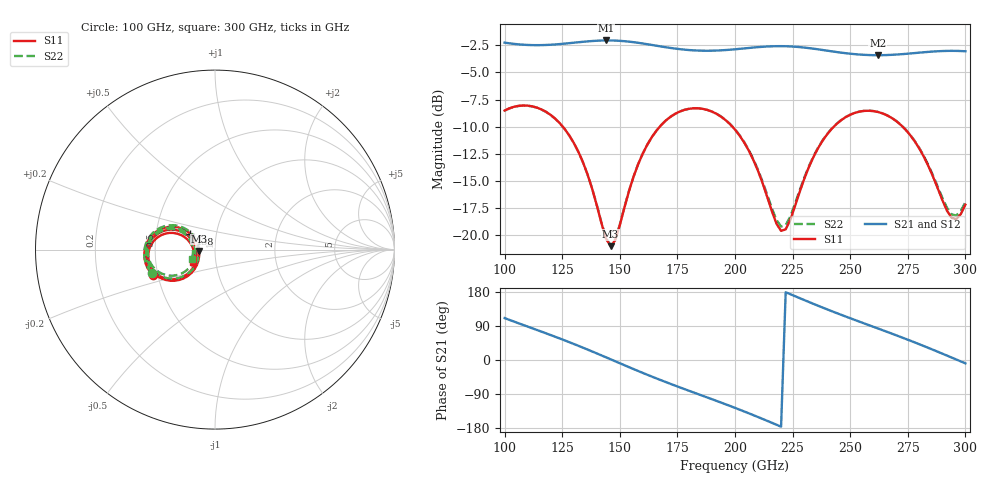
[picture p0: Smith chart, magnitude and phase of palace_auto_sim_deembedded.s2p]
! Created with skrf 1.11.0 (http://scikit-rf.org).
# GHz S DB R 50.0
!freq dBS11 angS11 dBS21 angS21 dBS12 angS12 dBS22 angS22
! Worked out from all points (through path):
!   101 points, 100 GHz to 300 GHz, reference 50 ohm
!   highest |S21| = -2.05 dB at 144 GHz (marker M1); lowest = -3.4 dB at 262 GHz (marker M2)
!   group delay of S21, straight-line fit = 6.67 ps
!   lowest |S11| = -21.0 dB at 146 GHz (marker M3), VSWR 1.19, Z = 41.9 - j0.591 ohm
!   |S11| at or under -10 dB: 125.2 GHz to 167.4 GHz (42.17 GHz wide, 28.8 % of centre); 198.8 GHz to 242.9 GHz (44.11 GHz wide, 20 % of centre); 272.7 GHz to end of sweep
!   |S22| runs from -21.0 to -8.1 dB; largest |S21 - S12| = 9.1e-14
!   S11 on the Smith chart (normalised r, x): 100 GHz: 0.47, -0.16; 138 GHz: 0.75, +0.14; 300 GHz: 0.78, -0.11
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100  -8.52 -157.7  -2.25 110.6  -2.25 110.6  -8.53 -159.4
108  -8.05 -172.3  -2.44 92.6  -2.44 92.6  -8.06 -174.1
118  -8.64 170.1  -2.46 70.3  -2.46 70.3  -8.65 168.1
126  -10.20 157.0  -2.34 51.9  -2.34 51.9  -10.20 154.9
134  -13.28 147.4  -2.17 32.6  -2.17 32.6  -13.28 145.3
138  -15.74 147.3  -2.10 22.5  -2.10 22.5  -15.73 145.2
144  -20.34 168.0  -2.05 7.1  -2.05 7.1  -20.28 165.8
146  -21.03 -175.5  -2.05 1.9  -2.05 1.9  -20.95 -177.9
156  -14.60 -135.3  -2.21 -24.0  -2.21 -24.0  -14.59 -138.1
168  -9.85 -148.2  -2.61 -53.6  -2.61 -53.6  -9.85 -151.1
184  -8.31 -174.7  -2.98 -90.0  -2.98 -90.0  -8.31 -177.7
200  -10.28 160.3  -2.86 -126.3  -2.86 -126.3  -10.25 157.4
212  -15.23 152.5  -2.63 -155.6  -2.63 -155.6  -15.10 150.0
220  -19.62 -177.9  -2.57 -176.0  -2.57 -176.0  -19.22 178.4
224  -18.61 -152.9  -2.60 173.7  -2.60 173.7  -18.30 -158.1
234  -12.83 -139.2  -2.81 148.3  -2.81 148.3  -12.77 -144.5
248  -9.13 -156.7  -3.22 114.8  -3.22 114.8  -9.12 -161.6
262  -8.65 -178.4  -3.41 83.3  -3.41 83.3  -8.64 176.6
268  -9.20 172.5  -3.37 69.7  -3.37 69.7  -9.19 167.6
280  -12.03 158.2  -3.17 41.6  -3.17 41.6  -11.98 153.5
294  -18.41 -179.5  -3.01 6.5  -3.01 6.5  -18.10 175.1
300  -17.21 -150.4  -3.05 -8.8  -3.05 -8.8  -16.97 -157.4
